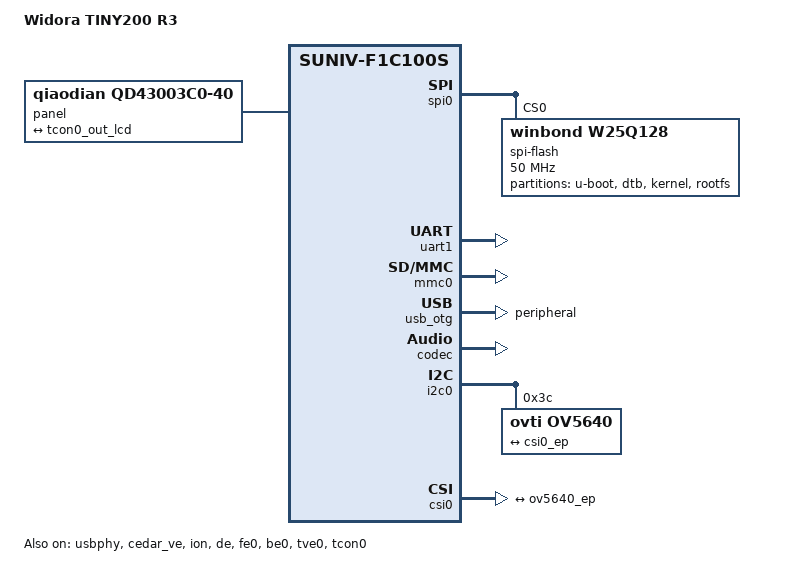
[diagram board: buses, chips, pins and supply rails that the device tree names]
// SPDX-License-Identifier: (GPL-2.0+ OR X11)

/dts-v1/;
#include "suniv-f1c200s.dtsi"

/ {
	model = "Widora TINY200 R3";
	compatible = "allwinner,suniv-f1c200s",
			 "allwinner,suniv-f1c100s";

	aliases {
		serial0 = &uart1;
		display0 = &panel;
	};

	chosen {
		#address-cells = <1>;
		#size-cells = <1>;
		ranges;

		stdout-path = "serial0:115200n8";

		// simplefb_lcd: framebuffer-lcd0 {
		// 	compatible = "allwinner,simple-framebuffer",
		// 		     "simple-framebuffer";
		// 	allwinner,pipeline = "de_be0-lcd0";
		// 	clocks = <&ccu CLK_BUS_DE_BE>, <&ccu CLK_DE_BE>,
		// 		 <&ccu CLK_DRAM_DE_BE>, <&ccu CLK_BUS_LCD>,
		// 		 <&ccu CLK_TCON>;
		// 	status = "disabled";
		// };
	};

	panel: panel {
		compatible = "qiaodian,qd43003c0-40", "simple-panel";
		#address-cells = <1>;
		#size-cells = <0>;

		port@0 {
			reg = <0>;
			#address-cells = <1>;
			#size-cells = <0>;

			panel_input: endpoint@0 {
				reg = <0>;
				remote-endpoint = <&tcon0_out_lcd>;
			};
		};
	};
};

&spi0 {
	status = "okay";
	spi-max-frequency = <50000000>;
	spi-flash {
		#address-cells = <1>;
		#size-cells = <1>;
		compatible = "winbond,w25q128", "jedec,spi-nor";
		// compatible = "spi-nand";
		reg = <0>;
		spi-max-frequency = <50000000>;
		partitions {
			compatible = "fixed-partitions";
			#address-cells = <1>;
			#size-cells = <1>;

			partition@0 {
				label = "u-boot";
				reg = <0x000000 0x80000>;
				read-only;
			};

			partition@100000 {
				label = "dtb";
				reg = <0x80000 0x10000>;
				read-only;
			};

			partition@110000 {
				label = "kernel";
				reg = <0x100000 0x700000>;
				read-only;
			};

			partition@510000 {
				label = "rootfs";
				reg = <0x800000 0x800000>;
			};
		};
	};
};

// &uart0 {
// 	pinctrl-names = "default";
// 	pinctrl-0 = <&uart0_pe_pins>;
// 	status = "okay";
// };

&uart1 {
	pinctrl-names = "default";
	pinctrl-0 = <&uart1_pa_pins>;
	status = "okay";
};

&mmc0 {
	status = "okay";
	broken-cd;
};

&otg_sram {
	status = "okay";
};

&usb_otg {
	dr_mode = "peripheral"; /* otg host peripheral */
	status = "okay";
};

&usbphy {
	// usb0_id_det-gpio = <&pio 4 2 GPIO_ACTIVE_HIGH>; /* PE2 */
	status = "okay";
};

&cedar_ve {
	status = "okay";
};

&ion {
	status = "okay";
};

&de {
	status = "okay";
};

&fe0 {
	status = "okay";
};

&be0 {
	status = "okay";
};

&tve0 {
	status = "okay";
};

&tcon0 {
	pinctrl-names = "default";
	pinctrl-0 = <&lcd_rgb565_pins>;
	status = "okay";
};

&tcon0_out {
	tcon0_out_lcd: endpoint@0 {
		reg = <0>;
		remote-endpoint = <&panel_input>;
	};
};

&codec {
	allwinner,audio-routing =
		"Headphone", "HP",
		"Headphone", "HPCOM",
		"LINEIN", "Line In",
		"FMINL", "Left FM In",
		"FMINR", "Right FM In",
		"MIC", "Mic";
	status = "okay";
};

&i2c0 {
	pinctrl-names = "default";
	pinctrl-0 = <&i2c0_pd_pins>;
	status = "okay";

	ov5640: camera@3c {
		compatible = "ovti,ov5640";
		reg = <0x3c>;
		pinctrl-0 = <&clk_out_pins>;
		pinctrl-names = "default";
		clocks = <&clk_out>;
		clock-names = "xclk";
		assigned-clocks = <&clk_out>;
		assigned-clock-rates = <24000000>;

		port {
			ov5640_ep: endpoint {
				remote-endpoint = <&csi0_ep>;
				bus-width = <8>;
				hsync-active = <0>;
				vsync-active = <0>;
				pclk-sample = <1>;
			};
		};
	};
};

&csi0 {
	pinctrl-names = "default";
	pinctrl-0 = <&csi0_pins>;
	status = "okay";

	port {
		csi0_ep: endpoint {
			remote-endpoint = <&ov5640_ep>;
			bus-width = <8>;
			hsync-active = <0>;
			vsync-active = <0>;
			pclk-sample = <1>;
		};
	};
};
